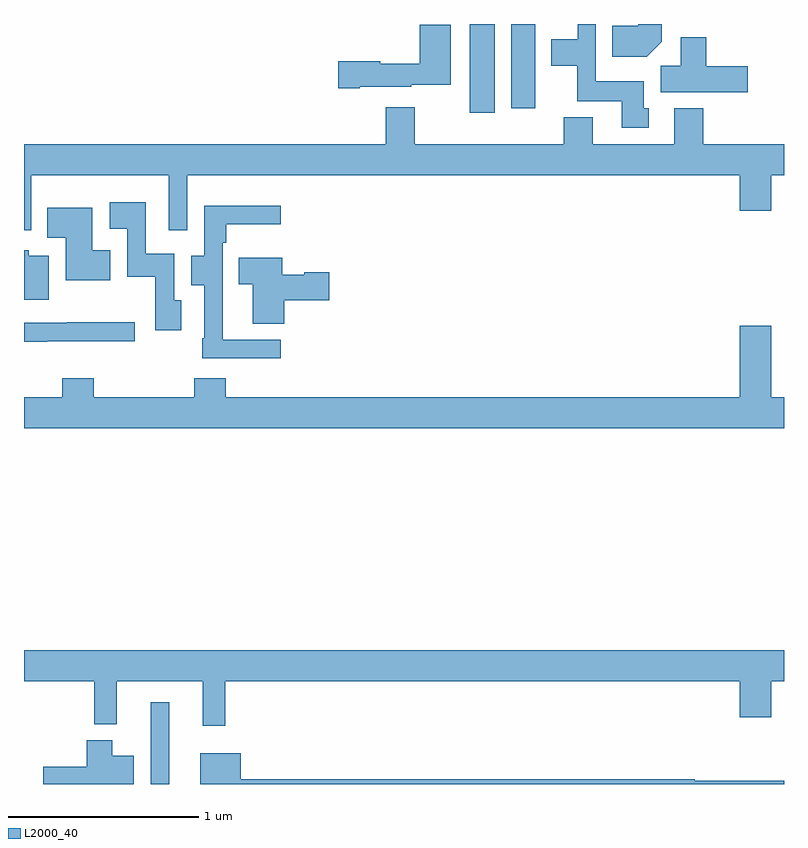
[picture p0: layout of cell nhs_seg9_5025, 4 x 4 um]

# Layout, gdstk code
import gdstk
lib = gdstk.Library(unit=1e-6, precision=1e-09)
def R(c, l, rs):  # rectangles x0, y0, x1, y1
    for r in rs: c.add(gdstk.rectangle(r[:2], r[2:], *l))
def P(c, l, *ps):  # polygons
    for p in ps: c.add(gdstk.Polygon(p, *l))
L2000_40 = (2000, 40)

nhs_seg9_5025 = lib.new_cell('nhs_seg9_5025')
R(nhs_seg9_5025, L2000_40, [(401.667,1242.5,401.764,1242.931), (403.346,1246.032,403.477,1246.5), (403.565,1246.056,403.69,1246.5)])
P(nhs_seg9_5025, L2000_40, [(404.287,1246.056),(404.263,1246.056),(404.263,1246.198),(404.01,1246.198),(404.01,1246.5),(403.914,1246.5),(403.914,1246.42),(403.775,1246.42),(403.775,1246.28),(403.912,1246.28),(403.912,1246.094),(404.147,1246.094),(404.147,1245.954),(404.287,1245.954)],
  [(404.356,1246.406),(404.356,1246.5),(404.234,1246.5),(404.234,1246.492),(404.095,1246.492),(404.095,1246.328),(404.278,1246.328)],
  [(402.766,1246.169),(403.038,1246.169),(403.038,1246.181),(403.246,1246.181),(403.246,1246.495),(403.084,1246.495),(403.084,1246.291),(402.876,1246.291),(402.876,1246.304),(402.654,1246.304),(402.654,1246.162),(402.766,1246.162)],
  [(404.809,1246.277),(404.591,1246.277),(404.591,1246.429),(404.456,1246.429),(404.456,1246.28),(404.351,1246.28),(404.351,1246.142),(404.809,1246.142)],
  [(401.037,1245.704),(401.763,1245.704),(401.763,1245.414),(401.859,1245.414),(401.859,1245.704),(404.768,1245.704),(404.768,1245.516),(404.932,1245.516),(404.932,1245.704),(405,1245.704),(405,1245.868),(404.576,1245.868),(404.576,1246.057),(404.423,1246.057),(404.423,1245.868),(403.993,1245.868),(403.993,1246.009),(403.841,1246.009),(403.841,1245.868),(403.057,1245.868),(403.057,1246.063),(402.905,1246.063),(402.905,1245.868),(401,1245.868),(401,1245.414),(401.037,1245.414)],
  [(401.827,1245.045),(401.79,1245.045),(401.79,1245.292),(401.64,1245.292),(401.64,1245.562),(401.451,1245.562),(401.451,1245.422),(401.544,1245.422),(401.544,1245.17),(401.692,1245.17),(401.692,1244.889),(401.827,1244.889)],
  [(402.352,1244.838),(402.046,1244.838),(402.046,1245.035),(402.045,1245.035),(402.045,1245.35),(402.065,1245.35),(402.065,1245.446),(402.352,1245.446),(402.352,1245.544),(401.949,1245.544),(401.949,1245.279),(401.879,1245.279),(401.879,1245.124),(401.949,1245.124),(401.949,1244.845),(401.937,1244.845),(401.937,1244.742),(402.352,1244.742)],
  [(401.455,1245.31),(401.359,1245.31),(401.359,1245.532),(401.122,1245.532),(401.122,1245.374),(401.219,1245.374),(401.219,1245.152),(401.455,1245.152)],
  [(401.131,1245.28),(401.026,1245.28),(401.026,1245.31),(401,1245.31),(401,1245.05),(401.131,1245.05)],
  [(402.371,1245.047),(402.607,1245.047),(402.607,1245.194),(402.474,1245.194),(402.474,1245.181),(402.358,1245.181),(402.358,1245.271),(402.13,1245.271),(402.13,1245.131),(402.203,1245.131),(402.203,1244.923),(402.371,1244.923)],
  [(401.123,1244.831),(401.584,1244.831),(401.584,1244.931),(401.227,1244.931),(401.227,1244.928),(401,1244.928),(401,1244.827),(401.123,1244.827)],
  [(405,1244.536),(404.932,1244.536),(404.932,1244.911),(404.768,1244.911),(404.768,1244.536),(402.062,1244.536),(402.062,1244.635),(401.897,1244.635),(401.897,1244.536),(401.366,1244.536),(401.366,1244.635),(401.201,1244.635),(401.201,1244.536),(401,1244.536),(401,1244.372),(405,1244.372)],
  [(402.059,1243.04),(404.768,1243.04),(404.768,1242.852),(404.932,1242.852),(404.932,1243.04),(405,1243.04),(405,1243.204),(401,1243.204),(401,1243.04),(401.371,1243.04),(401.371,1242.815),(401.489,1242.815),(401.489,1243.04),(401.942,1243.04),(401.942,1242.807),(402.059,1242.807)],
  [(401.578,1242.649),(401.464,1242.649),(401.464,1242.73),(401.33,1242.73),(401.33,1242.591),(401.1,1242.591),(401.1,1242.5),(401.578,1242.5)],
  [(405,1242.517),(404.53,1242.517),(404.53,1242.524),(402.142,1242.524),(402.142,1242.661),(401.927,1242.661),(401.927,1242.5),(405,1242.5)])

lib.write_gds('nhs_seg9_5025.gds')
